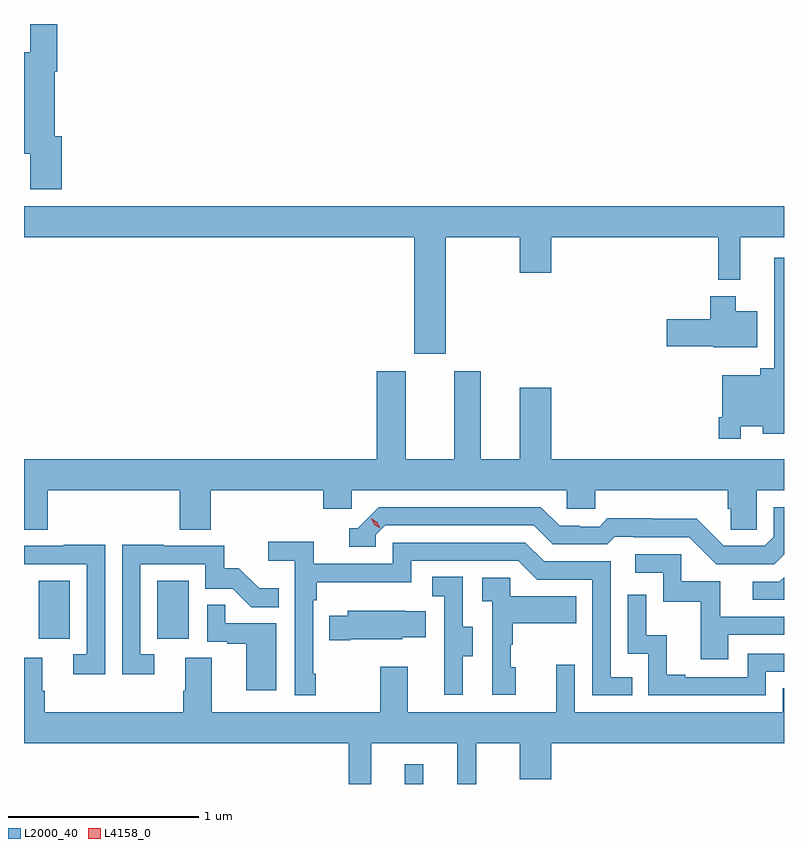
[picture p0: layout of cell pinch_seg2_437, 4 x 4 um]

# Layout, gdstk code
import gdstk
lib = gdstk.Library(unit=1e-6, precision=1e-09)
def R(c, l, rs):  # rectangles x0, y0, x1, y1
    for r in rs: c.add(gdstk.rectangle(r[:2], r[2:], *l))
def P(c, l, *ps):  # polygons
    for p in ps: c.add(gdstk.Polygon(p, *l))
L2000_40 = (2000, 40)
L4158_0 = (4158, 0)

pinch_seg2_437 = lib.new_cell('pinch_seg2_437')
R(pinch_seg2_437, L2000_40, [(907.658,608.794,907.755,608.899), (905.732,609.558,905.896,609.865), (906.356,609.558,906.52,609.865)])
P(pinch_seg2_437, L2000_40, [(905.852,612.204),(905.815,612.204),(905.815,612.542),(905.828,612.542),(905.828,612.794),(905.687,612.794),(905.687,612.646),(905.654,612.646),(905.654,612.111),(905.687,612.111),(905.687,611.925),(905.852,611.925)],
  [(905.654,611.672),(907.709,611.672),(907.709,611.058),(907.873,611.058),(907.873,611.672),(908.264,611.672),(908.264,611.484),(908.428,611.484),(908.428,611.672),(909.307,611.672),(909.307,611.447),(909.425,611.447),(909.425,611.672),(909.654,611.672),(909.654,611.836),(905.654,611.836)],
  [(909.426,610.676),(909.542,610.676),(909.542,610.637),(909.654,610.637),(909.654,611.563),(909.603,611.563),(909.603,610.981),(909.53,610.981),(909.53,610.945),(909.33,610.945),(909.33,610.723),(909.31,610.723),(909.31,610.611),(909.426,610.611)],
  [(909.514,611.281),(909.4,611.281),(909.4,611.362),(909.266,611.362),(909.266,611.241),(909.036,611.241),(909.036,611.099),(909.282,611.099),(909.282,611.093),(909.514,611.093)],
  [(908.511,610.242),(908.661,610.242),(908.661,610.34),(909.359,610.34),(909.359,610.242),(909.373,610.242),(909.373,610.132),(909.51,610.132),(909.51,610.34),(909.654,610.34),(909.654,610.504),(908.428,610.504),(908.428,610.879),(908.264,610.879),(908.264,610.504),(908.059,610.504),(908.059,610.966),(907.919,610.966),(907.919,610.504),(907.663,610.504),(907.663,610.966),(907.511,610.966),(907.511,610.504),(905.654,610.504),(905.654,610.132),(905.78,610.132),(905.78,610.34),(906.473,610.34),(906.473,610.132),(906.638,610.132),(906.638,610.34),(907.229,610.34),(907.229,610.242),(907.38,610.242),(907.38,610.34),(908.511,610.34)],
  [(909.654,610.002),(909.654,610.251),(909.6,610.251),(909.6,610.095),(909.552,610.047),(909.336,610.047),(909.194,610.189),(908.958,610.189),(908.958,610.192),(908.725,610.192),(908.683,610.149),(908.58,610.149),(908.58,610.152),(908.473,610.152),(908.374,610.251),(907.521,610.251),(907.41,610.14),(907.367,610.14),(907.367,610.044),(907.506,610.044),(907.506,610.107),(907.554,610.155),(908.337,610.155),(908.436,610.056),(908.725,610.056),(908.764,610.095),(908.863,610.095),(908.863,610.092),(909.156,610.092),(909.297,609.951),(909.603,609.951)],
  [(907.189,609.373),(907.176,609.373),(907.176,609.761),(907.196,609.761),(907.196,609.857),(907.692,609.857),(907.692,609.969),(908.256,609.969),(908.355,609.87),(908.646,609.87),(908.646,609.261),(908.855,609.261),(908.855,609.357),(908.742,609.357),(908.742,609.966),(908.392,609.966),(908.293,610.065),(907.596,610.065),(907.596,609.954),(907.178,609.954),(907.178,610.07),(906.939,610.07),(906.939,609.968),(907.08,609.968),(907.08,609.261),(907.189,609.261)],
  [(906.34,609.477),(906.267,609.477),(906.267,609.951),(906.609,609.951),(906.609,609.822),(906.753,609.822),(906.851,609.724),(906.995,609.724),(906.995,609.823),(906.891,609.823),(906.784,609.93),(906.708,609.93),(906.708,610.047),(906.389,610.047),(906.389,610.052),(906.171,610.052),(906.171,609.372),(906.34,609.372)],
  [(906.081,610.052),(905.863,610.052),(905.863,610.047),(905.654,610.047),(905.654,609.951),(905.985,609.951),(905.985,609.477),(905.913,609.477),(905.913,609.372),(906.081,609.372)],
  [(909.361,609.579),(909.654,609.579),(909.654,609.675),(909.319,609.675),(909.319,609.861),(909.114,609.861),(909.114,610.002),(908.871,610.002),(908.871,609.906),(909.018,609.906),(909.018,609.753),(909.217,609.753),(909.217,609.45),(909.361,609.45)],
  [(907.963,609.466),(908.017,609.466),(908.017,609.621),(907.962,609.621),(907.962,609.884),(907.803,609.884),(907.803,609.781),(907.866,609.781),(907.866,609.477),(907.865,609.477),(907.865,609.264),(907.963,609.264)],
  [(909.654,609.882),(909.63,609.858),(909.489,609.858),(909.489,609.765),(909.654,609.765)],
  [(908.242,609.408),(908.217,609.408),(908.217,609.527),(908.227,609.527),(908.227,609.641),(908.561,609.641),(908.561,609.781),(908.214,609.781),(908.214,609.879),(908.067,609.879),(908.067,609.755),(908.118,609.755),(908.118,609.264),(908.242,609.264)],
  [(909.558,609.384),(909.654,609.384),(909.654,609.48),(909.462,609.48),(909.462,609.357),(909.133,609.357),(909.133,609.37),(909.038,609.37),(909.038,609.578),(908.928,609.578),(908.928,609.79),(908.832,609.79),(908.832,609.48),(908.94,609.48),(908.94,609.261),(909.558,609.261)],
  [(906.982,609.639),(906.713,609.639),(906.713,609.737),(906.618,609.737),(906.618,609.543),(906.725,609.543),(906.725,609.531),(906.824,609.531),(906.824,609.288),(906.982,609.288)],
  [(907.372,609.557),(907.644,609.557),(907.644,609.566),(907.769,609.566),(907.769,609.703),(907.661,609.703),(907.661,609.706),(907.359,609.706),(907.359,609.679),(907.261,609.679),(907.261,609.55),(907.372,609.55)],
  [(907.675,609.412),(907.528,609.412),(907.528,609.172),(906.643,609.172),(906.643,609.458),(906.503,609.458),(906.503,609.284),(906.491,609.284),(906.491,609.172),(905.762,609.172),(905.762,609.284),(905.749,609.284),(905.749,609.458),(905.654,609.458),(905.654,609.008),(907.363,609.008),(907.363,608.794),(907.481,608.794),(907.481,609.008),(907.934,609.008),(907.934,608.794),(908.034,608.794),(908.034,609.008),(908.264,609.008),(908.264,608.82),(908.428,608.82),(908.428,609.008),(909.654,609.008),(909.654,609.299),(909.648,609.299),(909.648,609.172),(908.553,609.172),(908.553,609.421),(908.456,609.421),(908.456,609.172),(907.675,609.172)])
P(pinch_seg2_437, L4158_0, [(907.529,610.14),(907.498,610.159),(907.481,610.191),(907.481,610.192),(907.482,610.192),(907.512,610.172),(907.529,610.14),(907.529,610.14)])

lib.write_gds('pinch_seg2_437.gds')
